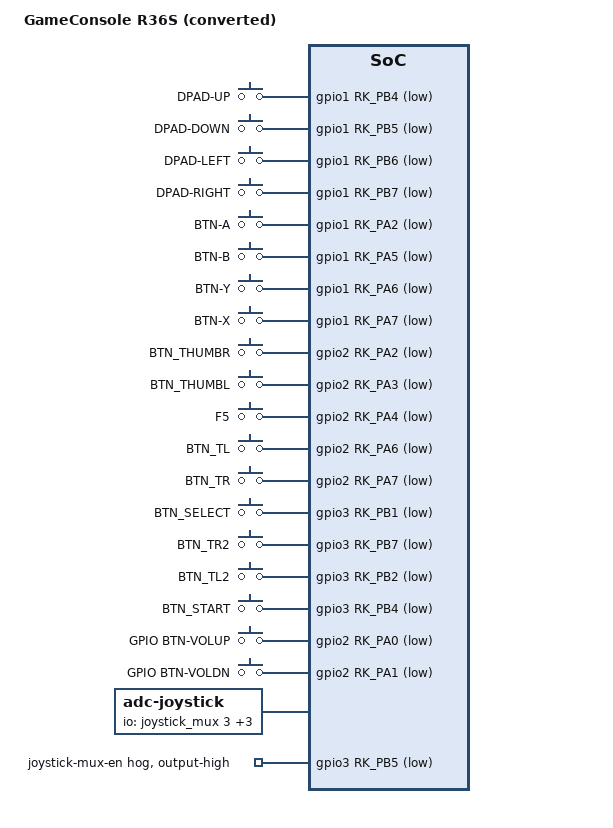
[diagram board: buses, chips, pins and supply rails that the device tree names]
// SPDX-License-Identifier: (GPL-2.0+ OR MIT)
/*
 * GameConsole R36S, converted from a vendor RK3326 device tree by
 * `r36os dtb import` (boot-dtb-select D12). Do not edit: import again.
 * Source: arkos4clone/boot/dArkOS/consoles/origin panel1/rk3326-r36s-panel1-linux.dtb
 * SHA-256: 97860e2896ff7e391aa0b833bdab26e1a290a60792fb6ba6f3faeb37a802b6ac
 * Note: sticks: axes from the ROCKNIX joypad mapping, not measured
 * Note: speaker gain: source spk-volume 3 ignored, the native safe value is used
 */

#include "rk3326-r36s-v5.dts"

/ {
	model = "GameConsole R36S (converted)";

	lume-select {
		lume,id = "arkos4clone-origin-panel1-r36s-panel1";
		lume,priority = <0>;
		/delete-property/ lume,default;
		/delete-property/ lume,panel-id;
	};

	/delete-node/ gpio-keys;
	/delete-node/ volume-keys;

	gpio-keys {
		compatible = "gpio-keys";
		pinctrl-names = "default";
		pinctrl-0 = <&btn_pins>;

		button-dpad-up {
			gpios = <&gpio1 RK_PB4 GPIO_ACTIVE_LOW>;
			label = "DPAD-UP";
			linux,code = <0x220>;
		};

		button-dpad-down {
			gpios = <&gpio1 RK_PB5 GPIO_ACTIVE_LOW>;
			label = "DPAD-DOWN";
			linux,code = <0x221>;
		};

		button-dpad-left {
			gpios = <&gpio1 RK_PB6 GPIO_ACTIVE_LOW>;
			label = "DPAD-LEFT";
			linux,code = <0x222>;
		};

		button-dpad-right {
			gpios = <&gpio1 RK_PB7 GPIO_ACTIVE_LOW>;
			label = "DPAD-RIGHT";
			linux,code = <0x223>;
		};

		button-btn-a {
			gpios = <&gpio1 RK_PA2 GPIO_ACTIVE_LOW>;
			label = "BTN-A";
			linux,code = <0x131>;
		};

		button-btn-b {
			gpios = <&gpio1 RK_PA5 GPIO_ACTIVE_LOW>;
			label = "BTN-B";
			linux,code = <0x130>;
		};

		button-btn-y {
			gpios = <&gpio1 RK_PA6 GPIO_ACTIVE_LOW>;
			label = "BTN-Y";
			linux,code = <0x134>;
		};

		button-btn-x {
			gpios = <&gpio1 RK_PA7 GPIO_ACTIVE_LOW>;
			label = "BTN-X";
			linux,code = <0x133>;
		};

		button-btn-thumbr {
			gpios = <&gpio2 RK_PA2 GPIO_ACTIVE_LOW>;
			label = "BTN_THUMBR";
			linux,code = <0x2c2>;
		};

		button-btn-thumbl {
			gpios = <&gpio2 RK_PA3 GPIO_ACTIVE_LOW>;
			label = "BTN_THUMBL";
			linux,code = <0x2c3>;
		};

		button-f5 {
			gpios = <&gpio2 RK_PA4 GPIO_ACTIVE_LOW>;
			label = "F5";
			linux,code = <0x2c4>;
		};

		button-btn-tl {
			gpios = <&gpio2 RK_PA6 GPIO_ACTIVE_LOW>;
			label = "BTN_TL";
			linux,code = <0x136>;
		};

		button-btn-tr {
			gpios = <&gpio2 RK_PA7 GPIO_ACTIVE_LOW>;
			label = "BTN_TR";
			linux,code = <0x137>;
		};

		button-btn-select {
			gpios = <&gpio3 RK_PB1 GPIO_ACTIVE_LOW>;
			label = "BTN_SELECT";
			linux,code = <0x2c0>;
		};

		button-btn-tr2 {
			gpios = <&gpio3 RK_PB7 GPIO_ACTIVE_LOW>;
			label = "BTN_TR2";
			linux,code = <0x139>;
		};

		button-btn-tl2 {
			gpios = <&gpio3 RK_PB2 GPIO_ACTIVE_LOW>;
			label = "BTN_TL2";
			linux,code = <0x138>;
		};

		button-btn-start {
			gpios = <&gpio3 RK_PB4 GPIO_ACTIVE_LOW>;
			label = "BTN_START";
			linux,code = <0x2c1>;
		};
	};

	volume-keys {
		compatible = "gpio-keys";
		pinctrl-names = "default";
		pinctrl-0 = <&vol_pins>;
		autorepeat;

		button-gpio-btn-volup {
			gpios = <&gpio2 RK_PA0 GPIO_ACTIVE_LOW>;
			label = "GPIO BTN-VOLUP";
			linux,code = <0x73>;
		};

		button-gpio-btn-voldn {
			gpios = <&gpio2 RK_PA1 GPIO_ACTIVE_LOW>;
			label = "GPIO BTN-VOLDN";
			linux,code = <0x72>;
		};
	};

	/delete-node/ adc-joystick;

	adc-joystick {
		compatible = "adc-joystick";
		io-channels = <&joystick_mux 3>,
			      <&joystick_mux 1>,
			      <&joystick_mux 2>,
			      <&joystick_mux 0>;
		poll-interval = <10>;
		#address-cells = <1>;
		#size-cells = <0>;

		axis@0 {
			reg = <0>;
			abs-flat = <32>;
			abs-fuzz = <32>;
			abs-range = <0 1023>;
			linux,code = <ABS_RY>;
		};

		axis@1 {
			reg = <1>;
			abs-flat = <32>;
			abs-fuzz = <32>;
			abs-range = <0 1023>;
			linux,code = <ABS_RX>;
		};

		axis@2 {
			reg = <2>;
			abs-flat = <32>;
			abs-fuzz = <32>;
			abs-range = <1023 0>;
			linux,code = <ABS_Y>;
		};

		axis@3 {
			reg = <3>;
			abs-flat = <32>;
			abs-fuzz = <32>;
			abs-range = <1023 0>;
			linux,code = <ABS_X>;
		};
	};

	mux-controller {
		mux-gpios = <&gpio3 RK_PB3 GPIO_ACTIVE_LOW>,
			    <&gpio3 RK_PB0 GPIO_ACTIVE_LOW>;
	};

	adc-mux {
		io-channels = <&saradc 1>;
	};

	/delete-node/ gpio-leds;

	rk817-sound {
		simple-audio-card,hp-det-gpios = <&gpio2 RK_PC6 GPIO_ACTIVE_LOW>;
	};
};

&internal_display {
	compatible = "rocknix,generic-dsi";
	/delete-property/ vcc-supply;
	vdd-supply = <&vcc_lcd>;
	reset-gpios = <&gpio3 RK_PC0 GPIO_ACTIVE_LOW>;
	panel_description =
		"G size=52,70 delays=2,1,20,120,20 format=rgb888 lanes=4 flags=0xe03",
		"M clock=29000 horizontal=640,80,20,80 vertical=480,20,4,12 default=1",
		"I seq=e0abba",
		"I seq=e1baab",
		"I seq=b1100147ff",
		"I seq=b20c0804505014",
		"I seq=b35612e0",
		"I seq=b4333004",
		"I seq=b6b0000010001000",
		"I seq=b80512294948",
		"I seq=b97f635245423439243e3d3c59464d3e3d3022007f635245423439243e3d3c59464d3e3d302200",
		"I seq=c03210123422222222900490040f0000c1",
		"I seq=c1129f8e89900490045440",
		"I seq=c2770908890811223344871800",
		"I seq=c3884a24241e1f120c0e10040624240202020202020202",
		"I seq=c4090b24241e1f130d0f11050724240202020202020202",
		"I seq=c64655",
		"I seq=c8120031423416",
		"I seq=ca1843",
		"I seq=cd0e64642c166b06b3",
		"I seq=d2e32b3808",
		"I seq=d40001000e04440810000000",
		"I seq=e68009ffffffffffff",
		"I seq=f012032000ff",
		"I seq=f303",
		"I seq=11 wait=c8",
		"I seq=29 wait=14";
};

&dsi {
	rockchip,lane-rate = <193>;
};

&backlight {
	pwms = <&pwm1 0 40000 0>;
	/delete-property/ num-interpolated-steps;
	brightness-levels = <0 1 2 3 4 5 6 7 8 9 10 11 12 13 14 15 16 17 18 19 20 21 22 23 24 25 26 27 28 29 30 31 32 33 34 35 36 37 38 39 40 41 42 43 44 45 46 47 48 49 50 51 52 53 54 55 56 57 58 59 60 61 62 63 64 65 66 67 68 69 70 71 72 73 74 75 76 77 78 79 80 81 82 83 84 85 86 87 88 89 90 91 92 93 94 95 96 97 98 99 100 101 102 103 104 105 106 107 108 109 110 111 112 113 114 115 116 117 118 119 120 121 122 123 124 125 126 127 128 129 130 131 132 133 134 135 136 137 138 139 140 141 142 143 144 145 146 147 148 149 150 151 152 153 154 155 156 157 158 159 160>;
	default-brightness-level = <80>;
};

&battery {
	charge-full-design-microamp-hours = <3380000>;
	voltage-max-design-microvolt = <4045000>;
	voltage-min-design-microvolt = <3165000>;
	ocv-capacity-table-0 = <4045000 100>,
				<4020000 95>,
				<3990000 90>,
				<3950000 85>,
				<3910000 80>,
				<3870000 75>,
				<3830000 70>,
				<3790000 65>,
				<3750000 60>,
				<3710000 55>,
				<3670000 50>,
				<3630000 45>,
				<3580000 40>,
				<3530000 35>,
				<3480000 30>,
				<3430000 25>,
				<3380000 20>,
				<3330000 15>,
				<3280000 10>,
				<3220000 5>,
				<3165000 0>;
};

&spk_amp {
	/delete-property/ enable-gpios;
	/delete-property/ pinctrl-names;
	/delete-property/ pinctrl-0;
};

&rk817 {
	interrupt-parent = <&gpio0>;
	interrupts = <RK_PB2 IRQ_TYPE_LEVEL_LOW>;
};

&gpio0 {
	/delete-node/ joystick-mux-en-hog;
};

&gpio1 {
	/delete-node/ lcd-enable-hog;
};

&gpio3 {
	/delete-node/ lcd-stbyb-hog;
	joystick-mux-en-hog {
		gpio-hog;
		gpios = <RK_PB5 GPIO_ACTIVE_LOW>;
		output-high;
		line-name = "joystick-mux-en";
	};
};

&btn_pins {
	rockchip,pins =
		<1 RK_PB4 RK_FUNC_GPIO &pcfg_pull_up>,
		<1 RK_PB5 RK_FUNC_GPIO &pcfg_pull_up>,
		<1 RK_PB6 RK_FUNC_GPIO &pcfg_pull_up>,
		<1 RK_PB7 RK_FUNC_GPIO &pcfg_pull_up>,
		<1 RK_PA2 RK_FUNC_GPIO &pcfg_pull_up>,
		<1 RK_PA5 RK_FUNC_GPIO &pcfg_pull_up>,
		<1 RK_PA6 RK_FUNC_GPIO &pcfg_pull_up>,
		<1 RK_PA7 RK_FUNC_GPIO &pcfg_pull_up>,
		<2 RK_PA2 RK_FUNC_GPIO &pcfg_pull_up>,
		<2 RK_PA3 RK_FUNC_GPIO &pcfg_pull_up>,
		<2 RK_PA4 RK_FUNC_GPIO &pcfg_pull_up>,
		<2 RK_PA6 RK_FUNC_GPIO &pcfg_pull_up>,
		<2 RK_PA7 RK_FUNC_GPIO &pcfg_pull_up>,
		<3 RK_PB1 RK_FUNC_GPIO &pcfg_pull_up>,
		<3 RK_PB7 RK_FUNC_GPIO &pcfg_pull_up>,
		<3 RK_PB2 RK_FUNC_GPIO &pcfg_pull_up>,
		<3 RK_PB4 RK_FUNC_GPIO &pcfg_pull_up>;
};

&vol_pins {
	rockchip,pins =
		<2 RK_PA0 RK_FUNC_GPIO &pcfg_pull_up>,
		<2 RK_PA1 RK_FUNC_GPIO &pcfg_pull_up>;
};

&hp_det {
	rockchip,pins = <2 RK_PC6 RK_FUNC_GPIO &pcfg_pull_none>;
};

&pmic_int {
	rockchip,pins = <0 RK_PB2 RK_FUNC_GPIO &pcfg_pull_up>;
};
